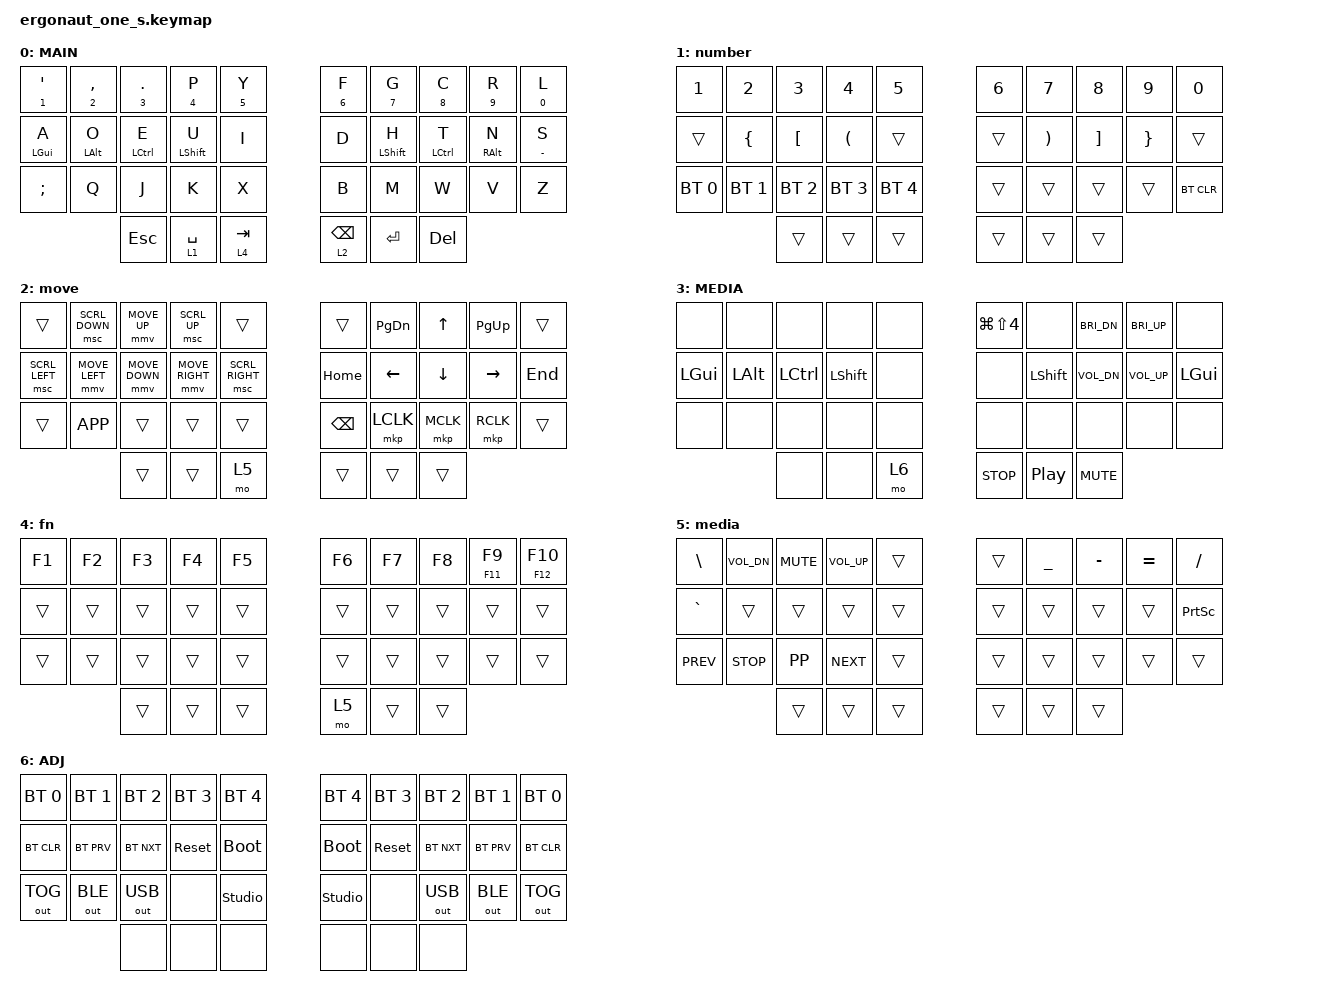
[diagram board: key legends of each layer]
#include <behaviors.dtsi>
#include <dt-bindings/zmk/bt.h>
#include <dt-bindings/zmk/keys.h>
#include <dt-bindings/zmk/outputs.h>
#include <dt-bindings/zmk/pointing.h>

#define BASE 0
#define NAV 1
#define MOUSE 2
#define MEDIA 3
#define NUM 4
#define SYM 5
#define FUN 6
#define ADJ 7

/ {
    behaviors {
        mt: mod_tap {
            compatible = "zmk,behavior-hold-tap";
            #binding-cells = <2>;
            flavor = "tap-preferred";
            tapping-term-ms = <200>;
            bindings = <&kp>, <&kp>;
        };

        hm: homerow_mods {
            compatible = "zmk,behavior-hold-tap";
            label = "HOMEROW_MODS";
            #binding-cells = <2>;
            tapping-term-ms = <200>;
            flavor = "tap-preferred";
            quick_tap_ms = <0>;
            bindings = <&kp>, <&kp>;
        };
    };

    keymap {
        compatible = "zmk,keymap";

        default_layer {
            display-name = "MAIN";
            bindings = <
&mt NUMBER_1 SQT  &mt NUMBER_2 COMMA  &mt NUMBER_3 PERIOD  &mt NUMBER_4 P  &mt N5 Y     &mt NUMBER_6 F  &mt N7 G         &mt N8 C     &mt N9 R    &mt N0 L
&hm LGUI A        &hm LALT O          &hm LCTRL E          &hm LSHFT U     &kp I        &kp D           &hm LSHFT H      &hm LCTRL T  &hm RALT N  &mt MINUS S
&kp SEMICOLON     &kp Q               &kp J                &kp K           &kp X        &kp B           &kp M            &kp W        &kp V       &kp Z
                                                           &kp ESC         &lt 1 SPACE  &lt 4 TAB       &lt 2 BACKSPACE  &kp RET      &kp DEL
            >;
        };

        lower_layer {
            display-name = "number";
            bindings = <
&kp NUMBER_1  &kp NUMBER_2    &kp NUMBER_3      &kp NUMBER_4          &kp N5        &kp NUMBER_6  &kp N7                 &kp N8             &kp N9           &kp N0
&trans        &kp LEFT_BRACE  &kp LEFT_BRACKET  &kp LEFT_PARENTHESIS  &trans        &trans        &kp RIGHT_PARENTHESIS  &kp RIGHT_BRACKET  &kp RIGHT_BRACE  &trans
&bt BT_SEL 0  &bt BT_SEL 1    &bt BT_SEL 2      &bt BT_SEL 3          &bt BT_SEL 4  &trans        &trans                 &trans             &trans           &bt BT_CLR
                                                &trans                &trans        &trans        &trans                 &trans             &trans
            >;
        };

        movements {
            display-name = "move";
            bindings = <
&trans          &msc SCRL_DOWN  &mmv MOVE_UP    &msc SCRL_UP     &trans           &trans         &kp PAGE_DOWN  &kp UP     &kp PG_UP  &trans
&msc SCRL_LEFT  &mmv MOVE_LEFT  &mmv MOVE_DOWN  &mmv MOVE_RIGHT  &msc SCRL_RIGHT  &kp HOME       &kp LEFT       &kp DOWN   &kp RIGHT  &kp END
&trans          &kp K_APP       &trans          &trans           &trans           &kp BACKSPACE  &mkp LCLK      &mkp MCLK  &mkp RCLK  &trans
                                                &trans           &trans           &mo 5          &trans         &trans     &trans
            >;
        };

        extra_layer {
            display-name = "MEDIA";
            bindings = <
&none     &none     &none      &none      &none  &kp LG(LS(N4))  &none       &kp C_BRI_DN  &kp C_BRI_UP  &none
&kp LGUI  &kp LALT  &kp LCTRL  &kp LSHFT  &none  &none           &kp LSHFT   &kp C_VOL_DN  &kp C_VOL_UP  &kp LGUI
&none     &none     &none      &none      &none  &none           &none       &none         &none         &none
                               &none      &none  &mo 6           &kp C_STOP  &kp C_PP      &kp K_MUTE
            >;
        };

        fn {
            display-name = "fn";
            bindings = <
&kp F1  &kp F2  &kp F3  &kp F4  &kp F5  &kp F6  &kp F7  &kp F8  &mt F11 F9  &mt F12 F10
&trans  &trans  &trans  &trans  &trans  &trans  &trans  &trans  &trans      &trans
&trans  &trans  &trans  &trans  &trans  &trans  &trans  &trans  &trans      &trans
                        &trans  &trans  &trans  &mo 5   &trans  &trans
            >;
        };

        media {
            display-name = "media";
            bindings = <
&kp BACKSLASH  &kp C_VOL_DN  &kp K_MUTE  &kp C_VOL_UP  &trans  &trans  &kp UNDERSCORE  &kp MINUS  &kp EQUAL  &kp SLASH
&kp GRAVE      &trans        &trans      &trans        &trans  &trans  &trans          &trans     &trans     &kp PRINTSCREEN
&kp K_PREV     &kp K_STOP    &kp K_PP    &kp K_NEXT    &trans  &trans  &trans          &trans     &trans     &trans
                                         &trans        &trans  &trans  &trans          &trans     &trans
            >;
        };

        adj_layer {
            display-name = "ADJ";
            bindings = <
&bt BT_SEL 0  &bt BT_SEL 1  &bt BT_SEL 2  &bt BT_SEL 3  &bt BT_SEL 4    &bt BT_SEL 4    &bt BT_SEL 3  &bt BT_SEL 2  &bt BT_SEL 1  &bt BT_SEL 0
&bt BT_CLR    &bt BT_PRV    &bt BT_NXT    &sys_reset    &bootloader     &bootloader     &sys_reset    &bt BT_NXT    &bt BT_PRV    &bt BT_CLR
&out OUT_TOG  &out OUT_BLE  &out OUT_USB  &none         &studio_unlock  &studio_unlock  &none         &out OUT_USB  &out OUT_BLE  &out OUT_TOG
                                          &none         &none           &none           &none         &none         &none
            >;
        };
    };
};
